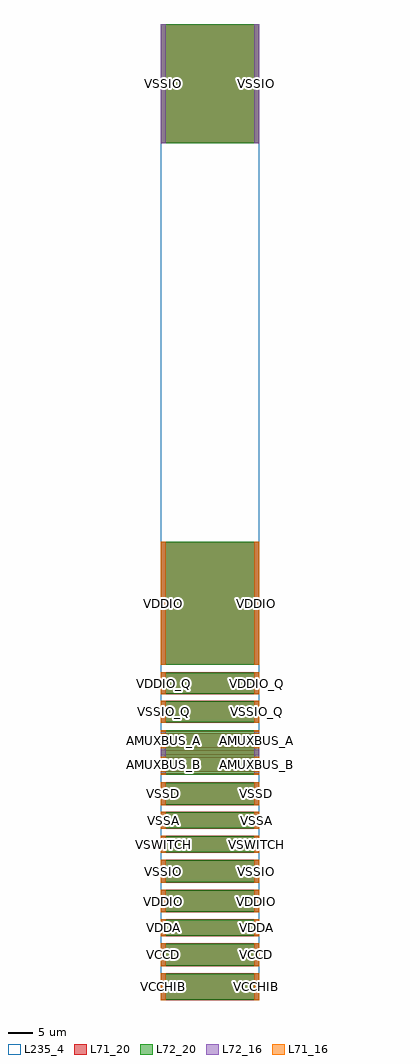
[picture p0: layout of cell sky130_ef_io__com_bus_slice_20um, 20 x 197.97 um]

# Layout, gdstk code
import gdstk
lib = gdstk.Library(unit=1e-6, precision=1e-09)
def R(c, l, rs):  # rectangles x0, y0, x1, y1
    for r in rs: c.add(gdstk.rectangle(r[:2], r[2:], *l))
L71_16 = (71, 16)
L71_20 = (71, 20)
L72_16 = (72, 16)
L72_20 = (72, 20)
L235_4 = (235, 4)

sky130_ef_io__com_bus_sl = lib.new_cell('sky130_ef_io__com_bus_slice_20um')
R(sky130_ef_io__com_bus_sl, L71_16, [(0,0,1,5.45), (19,0,20,5.45), (0,6.85,1,11.5), (19,6.85,20,11.5), (0,12.9,1,16.35), (19,12.9,20,16.35), (0,17.75,1,22.4), (19,17.75,20,22.4), (0,23.8,1,28.45), (19,23.8,20,28.45), (0,29.85,1,33.3), (19,29.85,20,33.3), (0,34.7,1,38.15), (19,34.7,20,38.15), (0,39.55,1,44.2), (19,39.55,20,44.2), (0,45.7,1,46.03), (19,45.7,20,46.03), (0,46.33,1,49.31), (19,46.33,20,49.31), (0,51.09,1,54.07), (19,51.09,20,54.07), (0,54.37,1,54.7), (19,54.37,20,54.7), (0,56.2,1,60.65), (19,56.2,20,60.65), (0,62.05,1,66.5), (19,62.05,20,66.5), (0,68,1,92.965), (19,68,20,92.965)])
R(sky130_ef_io__com_bus_sl, L71_20, [(0,0,20,5.45), (0,6.85,20,11.5), (0,12.9,20,16.35), (0,17.75,20,22.4), (0,23.8,20,28.45), (0,29.85,20,33.3), (0,34.7,20,38.15), (0,39.55,20,44.2), (0,45.7,20,46.03), (0,46.33,20,49.31), (0,49.61,20,50.79), (0,51.09,20,54.07), (0,54.37,20,54.7), (0,56.2,20,60.65), (0,62.05,20,66.5), (0,68,20,92.965), (0,173.75,20,197.965)])
R(sky130_ef_io__com_bus_sl, L72_16, [(0,0.1,1,5.35), (19,0.1,20,5.35), (0,6.95,1,11.4), (19,6.95,20,11.4), (0,13,1,16.25), (19,13,20,16.25), (0,17.85,1,22.3), (19,17.85,20,22.3), (0,23.9,1,28.35), (19,23.9,20,28.35), (0,29.95,1,33.2), (19,29.95,20,33.2), (0,34.8,1,38.05), (19,34.8,20,38.05), (0,39.65,1,44.1), (19,39.65,20,44.1), (0,45.7,1,54.7), (19,45.7,20,54.7), (0,56.3,1,60.55), (19,56.3,20,60.55), (0,62.15,1,66.4), (19,62.15,20,66.4), (0,68,1,92.95), (19,68,20,92.95), (0,173.75,1,197.965), (19,173.75,20,197.965)])
R(sky130_ef_io__com_bus_sl, L72_20, [(0,0.1,20,5.35), (0,6.95,20,11.4), (0,13,20,16.25), (0,17.85,20,22.3), (0,23.9,20,28.35), (0,29.95,20,33.2), (0,34.8,20,38.05), (0,39.65,20,44.1), (0,45.7,20,54.7), (0,56.3,20,60.55), (0,62.15,20,66.4), (0,68,20,92.95), (0,173.75,20,197.965)])
R(sky130_ef_io__com_bus_sl, L235_4, [(0,0,20,197.965)])
sky130_ef_io__com_bus_sl.add(gdstk.Label('AMUXBUS_A', (0.5,52.58), layer=71, texttype=16))
sky130_ef_io__com_bus_sl.add(gdstk.Label('AMUXBUS_A', (19.5,52.58), layer=71, texttype=16))
sky130_ef_io__com_bus_sl.add(gdstk.Label('AMUXBUS_B', (0.5,47.82), layer=71, texttype=16))
sky130_ef_io__com_bus_sl.add(gdstk.Label('AMUXBUS_B', (19.5,47.82), layer=71, texttype=16))
sky130_ef_io__com_bus_sl.add(gdstk.Label('VSSA', (0.5,50.2), layer=72, texttype=16))
sky130_ef_io__com_bus_sl.add(gdstk.Label('VSSA', (0.5,54.535), layer=71, texttype=16))
sky130_ef_io__com_bus_sl.add(gdstk.Label('VSSA', (0.5,45.865), layer=71, texttype=16))
sky130_ef_io__com_bus_sl.add(gdstk.Label('VSSA', (0.5,36.425), layer=72, texttype=16))
sky130_ef_io__com_bus_sl.add(gdstk.Label('VSSA', (0.5,36.425), layer=71, texttype=16))
sky130_ef_io__com_bus_sl.add(gdstk.Label('VSSA', (19.5,50.2), layer=72, texttype=16))
sky130_ef_io__com_bus_sl.add(gdstk.Label('VSSA', (19.5,54.535), layer=71, texttype=16))
sky130_ef_io__com_bus_sl.add(gdstk.Label('VSSA', (19.5,45.865), layer=71, texttype=16))
sky130_ef_io__com_bus_sl.add(gdstk.Label('VSSA', (19.5,36.425), layer=72, texttype=16))
sky130_ef_io__com_bus_sl.add(gdstk.Label('VSSA', (19.5,36.425), layer=71, texttype=16))
sky130_ef_io__com_bus_sl.add(gdstk.Label('VDDA', (0.5,14.625), layer=72, texttype=16))
sky130_ef_io__com_bus_sl.add(gdstk.Label('VDDA', (0.5,14.625), layer=71, texttype=16))
sky130_ef_io__com_bus_sl.add(gdstk.Label('VDDA', (19.5,14.625), layer=72, texttype=16))
sky130_ef_io__com_bus_sl.add(gdstk.Label('VDDA', (19.5,14.625), layer=71, texttype=16))
sky130_ef_io__com_bus_sl.add(gdstk.Label('VSWITCH', (0.5,31.575), layer=72, texttype=16))
sky130_ef_io__com_bus_sl.add(gdstk.Label('VSWITCH', (0.5,31.575), layer=71, texttype=16))
sky130_ef_io__com_bus_sl.add(gdstk.Label('VSWITCH', (19.5,31.575), layer=72, texttype=16))
sky130_ef_io__com_bus_sl.add(gdstk.Label('VSWITCH', (19.5,31.575), layer=71, texttype=16))
sky130_ef_io__com_bus_sl.add(gdstk.Label('VDDIO_Q', (0.5,64.275), layer=72, texttype=16))
sky130_ef_io__com_bus_sl.add(gdstk.Label('VDDIO_Q', (0.5,64.275), layer=71, texttype=16))
sky130_ef_io__com_bus_sl.add(gdstk.Label('VDDIO_Q', (19.5,64.275), layer=72, texttype=16))
sky130_ef_io__com_bus_sl.add(gdstk.Label('VDDIO_Q', (19.5,64.275), layer=71, texttype=16))
sky130_ef_io__com_bus_sl.add(gdstk.Label('VCCHIB', (0.5,2.725), layer=72, texttype=16))
sky130_ef_io__com_bus_sl.add(gdstk.Label('VCCHIB', (0.5,2.725), layer=71, texttype=16))
sky130_ef_io__com_bus_sl.add(gdstk.Label('VCCHIB', (19.5,2.725), layer=72, texttype=16))
sky130_ef_io__com_bus_sl.add(gdstk.Label('VCCHIB', (19.5,2.725), layer=71, texttype=16))
sky130_ef_io__com_bus_sl.add(gdstk.Label('VDDIO', (0.5,80.475), layer=72, texttype=16))
sky130_ef_io__com_bus_sl.add(gdstk.Label('VDDIO', (0.5,80.482), layer=71, texttype=16))
sky130_ef_io__com_bus_sl.add(gdstk.Label('VDDIO', (0.5,20.075), layer=72, texttype=16))
sky130_ef_io__com_bus_sl.add(gdstk.Label('VDDIO', (0.5,20.075), layer=71, texttype=16))
sky130_ef_io__com_bus_sl.add(gdstk.Label('VDDIO', (19.5,80.475), layer=72, texttype=16))
sky130_ef_io__com_bus_sl.add(gdstk.Label('VDDIO', (19.5,80.482), layer=71, texttype=16))
sky130_ef_io__com_bus_sl.add(gdstk.Label('VDDIO', (19.5,20.075), layer=72, texttype=16))
sky130_ef_io__com_bus_sl.add(gdstk.Label('VDDIO', (19.5,20.075), layer=71, texttype=16))
sky130_ef_io__com_bus_sl.add(gdstk.Label('VCCD', (0.5,9.175), layer=72, texttype=16))
sky130_ef_io__com_bus_sl.add(gdstk.Label('VCCD', (0.5,9.175), layer=71, texttype=16))
sky130_ef_io__com_bus_sl.add(gdstk.Label('VCCD', (19.5,9.175), layer=72, texttype=16))
sky130_ef_io__com_bus_sl.add(gdstk.Label('VCCD', (19.5,9.175), layer=71, texttype=16))
sky130_ef_io__com_bus_sl.add(gdstk.Label('VSSIO', (0.5,26.125), layer=72, texttype=16))
sky130_ef_io__com_bus_sl.add(gdstk.Label('VSSIO', (0.5,26.125), layer=71, texttype=16))
sky130_ef_io__com_bus_sl.add(gdstk.Label('VSSIO', (0.5,185.857), layer=72, texttype=16))
sky130_ef_io__com_bus_sl.add(gdstk.Label('VSSIO', (19.5,26.125), layer=72, texttype=16))
sky130_ef_io__com_bus_sl.add(gdstk.Label('VSSIO', (19.5,26.125), layer=71, texttype=16))
sky130_ef_io__com_bus_sl.add(gdstk.Label('VSSIO', (19.5,185.857), layer=72, texttype=16))
sky130_ef_io__com_bus_sl.add(gdstk.Label('VSSD', (0.5,41.875), layer=72, texttype=16))
sky130_ef_io__com_bus_sl.add(gdstk.Label('VSSD', (0.5,41.875), layer=71, texttype=16))
sky130_ef_io__com_bus_sl.add(gdstk.Label('VSSD', (19.5,41.875), layer=72, texttype=16))
sky130_ef_io__com_bus_sl.add(gdstk.Label('VSSD', (19.5,41.875), layer=71, texttype=16))
sky130_ef_io__com_bus_sl.add(gdstk.Label('VSSIO_Q', (0.5,58.425), layer=72, texttype=16))
sky130_ef_io__com_bus_sl.add(gdstk.Label('VSSIO_Q', (0.5,58.425), layer=71, texttype=16))
sky130_ef_io__com_bus_sl.add(gdstk.Label('VSSIO_Q', (19.5,58.425), layer=72, texttype=16))
sky130_ef_io__com_bus_sl.add(gdstk.Label('VSSIO_Q', (19.5,58.425), layer=71, texttype=16))

lib.write_gds('sky130_ef_io__com_bus_slice_20um.gds')
